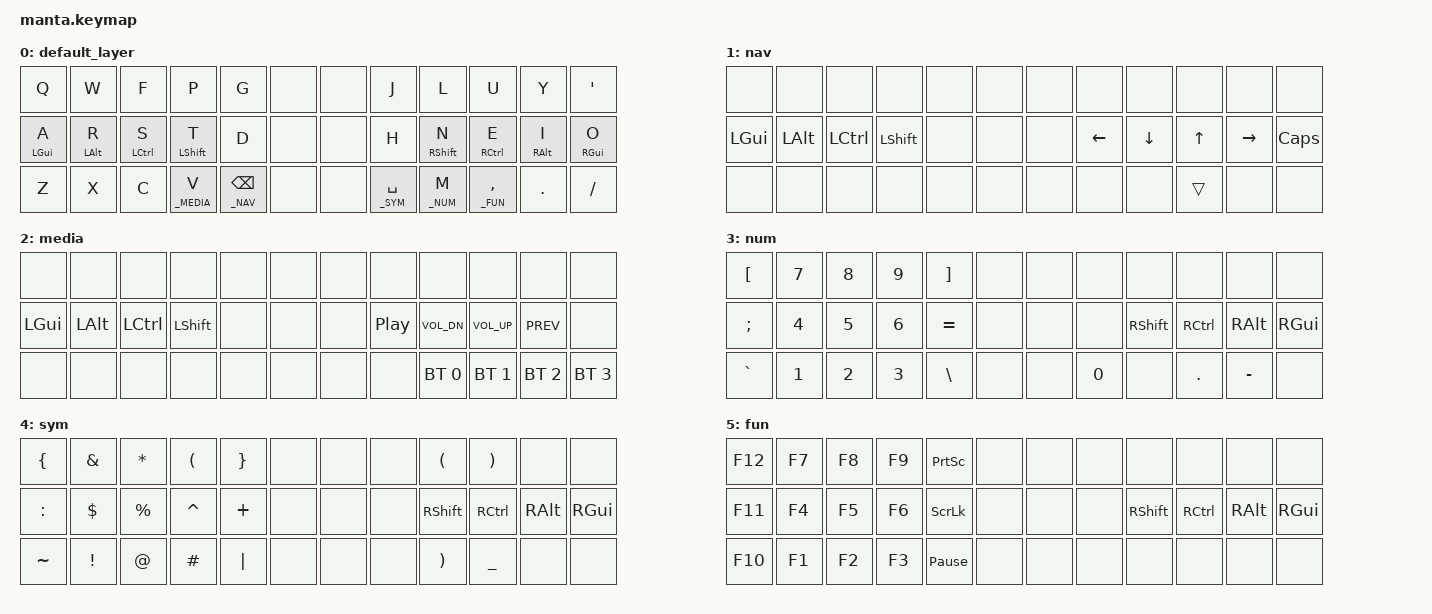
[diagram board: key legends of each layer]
/*
 * Copyright (c) 2020 The ZMK Contributors
 *
 * SPDX-License-Identifier: MIT
 */

#include <behaviors.dtsi>
#include <dt-bindings/zmk/keys.h>
#include <dt-bindings/zmk/bt.h>

#define             _BASE    0
#define             _NAV     1
#define             _MEDIA   2
#define             _NUM     3
#define             _SYM     4
#define             _FUN     5

#define VOL_U       &kp C_VOL_UP
#define VOL_D       &kp C_VOL_DN
#define PB          &kp PAUSE_BREAK

#define BT0         &bt BT_SEL 0
#define BT1         &bt BT_SEL 1
#define BT2         &bt BT_SEL 2
#define BT3         &bt BT_SEL 3

#define SPC_SYM     &lt _SYM   SPC
#define V_MED       &lt _MEDIA V
#define B_NAV       &lt _NAV   B
#define BSPC_NAV    &lt _NAV   BSPC
#define K_SYM       &lt _SYM   K
#define M_NUM       &lt _NUM   M
#define COMMA_FUN   &lt _FUN   COMMA

#define A_GUI       &hm LGUI  A
#define R_ALT       &hm LALT  R
#define S_CTRL      &hm LCTRL S
#define T_SHFT      &hm LSHFT T

#define N_SHFT      &hm RSHFT N
#define E_CTRL      &hm RCTRL E
#define I_ALT       &hm RALT  I
#define O_GUI       &hm RGUI  O

&kscan0 {
    debounce-period  = <12>;
};

&mt {
    tapping-term-ms = <185>;
    quick-tap-ms = <185>;
};

&lt {
    flavor = "balanced";
    tapping-term-ms = <185>;
    quick-tap-ms = <185>;
};

&caps_word {
    continue-list = <UNDERSCORE MINUS BACKSPACE>;
};

/ { 

        combos {
            compatible = "zmk,combos";

            combo_esc {
                timeout-ms = <50>;
                key-positions = <13 14>;
                bindings = <&kp ESC>;
                layers = <0 1 2 3 4 5>;
            };

            combo_tab {
                timeout-ms = <20>;
                key-positions = <14 15>;
                bindings = <&kp TAB>;
                layers = <0 1 2 3 4 5>;
            };

            combo_ret {
                timeout-ms = <20>;
                key-positions = <21 22>;
                bindings = <&kp RET>;
                layers = <0 1 2 3 4 5>;
            };
            
            combo_caps_word {
                timeout-ms = <20>;
                key-positions = <26 27>;
                bindings = <&caps_word>;
                layers = <0 1 2 3 4 5>;
            };
            
            combo_fun {
                timeout-ms = <20>;
                key-positions = <31 32>;
                bindings = <&mo _FUN>;
                layers = <0 1 2 3 4 5>;
            };
            
            // K position
            combo_k {
                timeout-ms = <20>;
                key-positions = <20 31>;
                bindings = <&kp K>;
                layers = <0 1 2 3 4 5>;
                slow-release;
            };
            
            combo_k_new {
                timeout-ms = <20>;
                key-positions = <19 20>;
                bindings = <&kp K>;
                layers = <0>;
                slow-release;
            };
            
            // B position
            combo_b {
                timeout-ms = <20>;
                key-positions = <15 28>;
                bindings = <&kp B>;
                layers = <0 1 2 5>;
                slow-release;
            };
            combo_b_minus {
                timeout-ms = <75>;
                key-positions = <15 28>;
                bindings = <&kp MINUS>;
                layers = <3>;
            };
            combo_b_underscore {
                timeout-ms = <75>;
                key-positions = <15 28>;
                bindings = <&kp UNDER>;
                layers = <4>;
            };

            combo_b_new {
                timeout-ms = <20>;
                key-positions = <15 16>;
                bindings = <&kp B>;
                layers = <0>;
                slow-release;
            };
            combo_b_new_minus {
                timeout-ms = <75>;
                key-positions = <15 16>;
                bindings = <&kp MINUS>;
                layers = <3>;
            };
            combo_b_new_underscore {
                timeout-ms = <75>;
                key-positions = <15 16>;
                bindings = <&kp UNDER>;
                layers = <4>;
            };
        };
    
        behaviors {
            hm: homerow_mods {
                compatible = "zmk,behavior-hold-tap";
                label = "HOMEROW_MODS";
                #binding-cells = <2>;
                tapping-term-ms = <220>;
                quick-tap-ms = <50>;
                flavor = "tap-preferred";
                bindings = <&kp>, <&kp>;
            };
        };

        keymap {
            compatible = "zmk,keymap";
                
       		default_layer {
		bindings = <
            &kp Q       &kp W       &kp F       &kp P       &kp G       /**/ &none       &none /**/     &kp J       &kp L       &kp U       &kp Y       &kp SQT
            A_GUI       R_ALT       S_CTRL      T_SHFT      &kp D 	    /**/ &none       &none /**/	    &kp H       N_SHFT      E_CTRL      I_ALT       O_GUI
            &kp Z       &kp X       &kp C       V_MED       BSPC_NAV    /**/ &none       &none /**/     SPC_SYM     M_NUM       COMMA_FUN   &kp DOT     &kp SLASH
		>;
		};

       		nav {
		bindings = <
            &none       &none       &none       &none       &none       /**/ &none       &none /**/     &none       &none       &none       &none       &none  
            &kp LGUI    &kp LALT    &kp LCTRL   &kp LSHFT   &none       /**/ &none       &none /**/     &kp LEFT    &kp DOWN    &kp UP      &kp RIGHT   &kp CAPS
            &none       &none       &none       &none       &none       /**/ &none       &none /**/     &none       &none       &trans      &none       &none
		>;
		};
		
            media {
		bindings = <
            &none       &none       &none       &none       &none       /**/ &none       &none /**/  	&none       &none       &none       &none       &none  
            &kp LGUI    &kp LALT    &kp LCTRL   &kp LSHFT   &none       /**/ &none       &none /**/     &kp C_PP    VOL_D       VOL_U       &kp C_PREV  &none
            &none       &none       &none       &none       &none       /**/ &none       &none /**/     &none       BT0         BT1         BT2         BT3
		>;
		};	
		
            num {
		bindings = <
            &kp LBKT    &kp N7      &kp N8      &kp N9      &kp RBKT    /**/ &none       &none /**/  	&none       &none       &none       &none       &none 
            &kp SEMI    &kp N4      &kp N5      &kp N6      &kp EQUAL   /**/ &none       &none /**/     &none       &kp RSHFT   &kp RCTRL   &kp RALT    &kp RGUI
            &kp GRAVE   &kp N1      &kp N2      &kp N3      &kp BSLH    /**/ &none       &none /**/     &kp N0      &none       &kp DOT     &kp MINUS   &none
		>;
		};	
		
            sym {
		bindings = <
            &kp LBRC    &kp AMPS    &kp STAR    &kp LPAR    &kp RBRC    /**/ &none       &none /**/     &none       &kp LPAR    &kp RPAR    &none       &none 
            &kp COLON   &kp DLLR    &kp PERCENT &kp CARET   &kp PLUS    /**/ &none       &none /**/     &none       &kp RSHFT   &kp RCTRL   &kp RALT    &kp RGUI
            &kp TILDE   &kp EXCL    &kp AT      &kp HASH    &kp PIPE    /**/ &none       &none /**/     &none       &kp RPAR    &kp UNDER   &none       &none
		>;
		};	

            fun {
		bindings = <
            &kp F12     &kp F7      &kp F8      &kp F9      &kp PSCRN   /**/ &none       &none /**/	    &none       &none       &none       &none       &none 
            &kp F11     &kp F4      &kp F5      &kp F6      &kp SLCK    /**/ &none       &none /**/     &none       &kp RSHFT   &kp RCTRL   &kp RALT    &kp RGUI
            &kp F10     &kp F1      &kp F2      &kp F3      PB          /**/ &none       &none /**/     &none       &none       &none       &none       &none
		>;
		};	
		
	};
};
